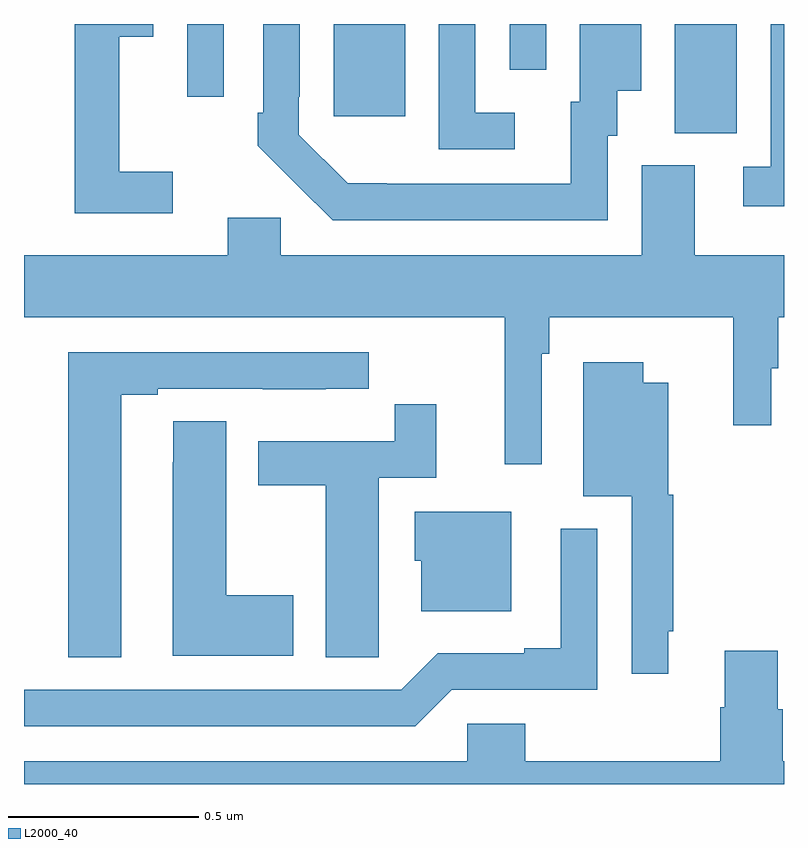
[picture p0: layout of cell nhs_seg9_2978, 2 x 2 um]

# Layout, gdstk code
import gdstk
lib = gdstk.Library(unit=1e-6, precision=1e-09)
def R(c, l, rs):  # rectangles x0, y0, x1, y1
    for r in rs: c.add(gdstk.rectangle(r[:2], r[2:], *l))
def P(c, l, *ps):  # polygons
    for p in ps: c.add(gdstk.Polygon(p, *l))
L2000_40 = (2000, 40)

nhs_seg9_2978 = lib.new_cell('nhs_seg9_2978')
R(nhs_seg9_2978, L2000_40, [(148.712,1222.213,148.876,1222.5), (147.815,1222.257,148.003,1222.5), (147.429,1222.308,147.525,1222.5), (148.278,1222.38,148.374,1222.5)])
P(nhs_seg9_2978, L2000_40, [(149,1222.5),(148.965,1222.5),(148.965,1222.125),(148.893,1222.125),(148.893,1222.02),(149,1222.02)],
  [(147.391,1222.111),(147.251,1222.111),(147.251,1222.466),(147.34,1222.466),(147.34,1222.5),(147.133,1222.5),(147.133,1222.002),(147.391,1222.002)],
  [(148.536,1222.206),(148.561,1222.206),(148.561,1222.325),(148.624,1222.325),(148.624,1222.5),(148.463,1222.5),(148.463,1222.296),(148.439,1222.296),(148.439,1222.08),(147.955,1222.08),(147.955,1222.081),(147.852,1222.081),(147.723,1222.209),(147.723,1222.309),(147.726,1222.309),(147.726,1222.5),(147.63,1222.5),(147.63,1222.267),(147.615,1222.267),(147.615,1222.179),(147.72,1222.074),(147.721,1222.075),(147.812,1221.984),(148.536,1221.984)],
  [(148.291,1222.266),(148.188,1222.266),(148.188,1222.5),(148.092,1222.5),(148.092,1222.17),(148.291,1222.17)],
  [(148.362,1221.632),(148.382,1221.632),(148.382,1221.728),(148.867,1221.728),(148.867,1221.444),(148.966,1221.444),(148.966,1221.594),(148.985,1221.594),(148.985,1221.728),(149,1221.728),(149,1221.892),(148.765,1221.892),(148.765,1222.128),(148.625,1222.128),(148.625,1221.892),(147.675,1221.892),(147.675,1221.99),(147.536,1221.99),(147.536,1221.892),(147,1221.892),(147,1221.728),(148.265,1221.728),(148.265,1221.342),(148.362,1221.342)],
  [(147.256,1221.525),(147.352,1221.525),(147.352,1221.54),(147.628,1221.54),(147.628,1221.539),(147.794,1221.539),(147.794,1221.54),(147.907,1221.54),(147.907,1221.636),(147.116,1221.636),(147.116,1220.833),(147.256,1220.833)],
  [(148.696,1220.902),(148.708,1220.902),(148.708,1221.261),(148.696,1221.261),(148.696,1221.556),(148.63,1221.556),(148.63,1221.61),(148.472,1221.61),(148.472,1221.257),(148.599,1221.257),(148.599,1220.79),(148.696,1220.79)],
  [(147.933,1220.944),(147.934,1220.944),(147.934,1221.306),(148.085,1221.306),(148.085,1221.499),(147.976,1221.499),(147.976,1221.402),(147.617,1221.402),(147.617,1221.286),(147.794,1221.286),(147.794,1220.833),(147.933,1220.833)],
  [(147.709,1220.997),(147.532,1220.997),(147.532,1221.455),(147.393,1221.455),(147.393,1221.347),(147.392,1221.347),(147.392,1220.837),(147.709,1220.837)],
  [(148.282,1221.217),(148.028,1221.217),(148.028,1221.087),(148.046,1221.087),(148.046,1220.954),(148.282,1220.954)],
  [(148.125,1220.748),(148.509,1220.748),(148.509,1221.172),(148.412,1221.172),(148.412,1220.857),(148.316,1220.857),(148.316,1220.844),(148.089,1220.844),(147.993,1220.748),(147,1220.748),(147,1220.652),(148.029,1220.652)],
  [(149,1220.56),(148.997,1220.56),(148.997,1220.697),(148.984,1220.697),(148.984,1220.851),(148.844,1220.851),(148.844,1220.702),(148.832,1220.702),(148.832,1220.56),(148.319,1220.56),(148.319,1220.658),(148.167,1220.658),(148.167,1220.56),(147,1220.56),(147,1220.5),(149,1220.5)])

lib.write_gds('nhs_seg9_2978.gds')
